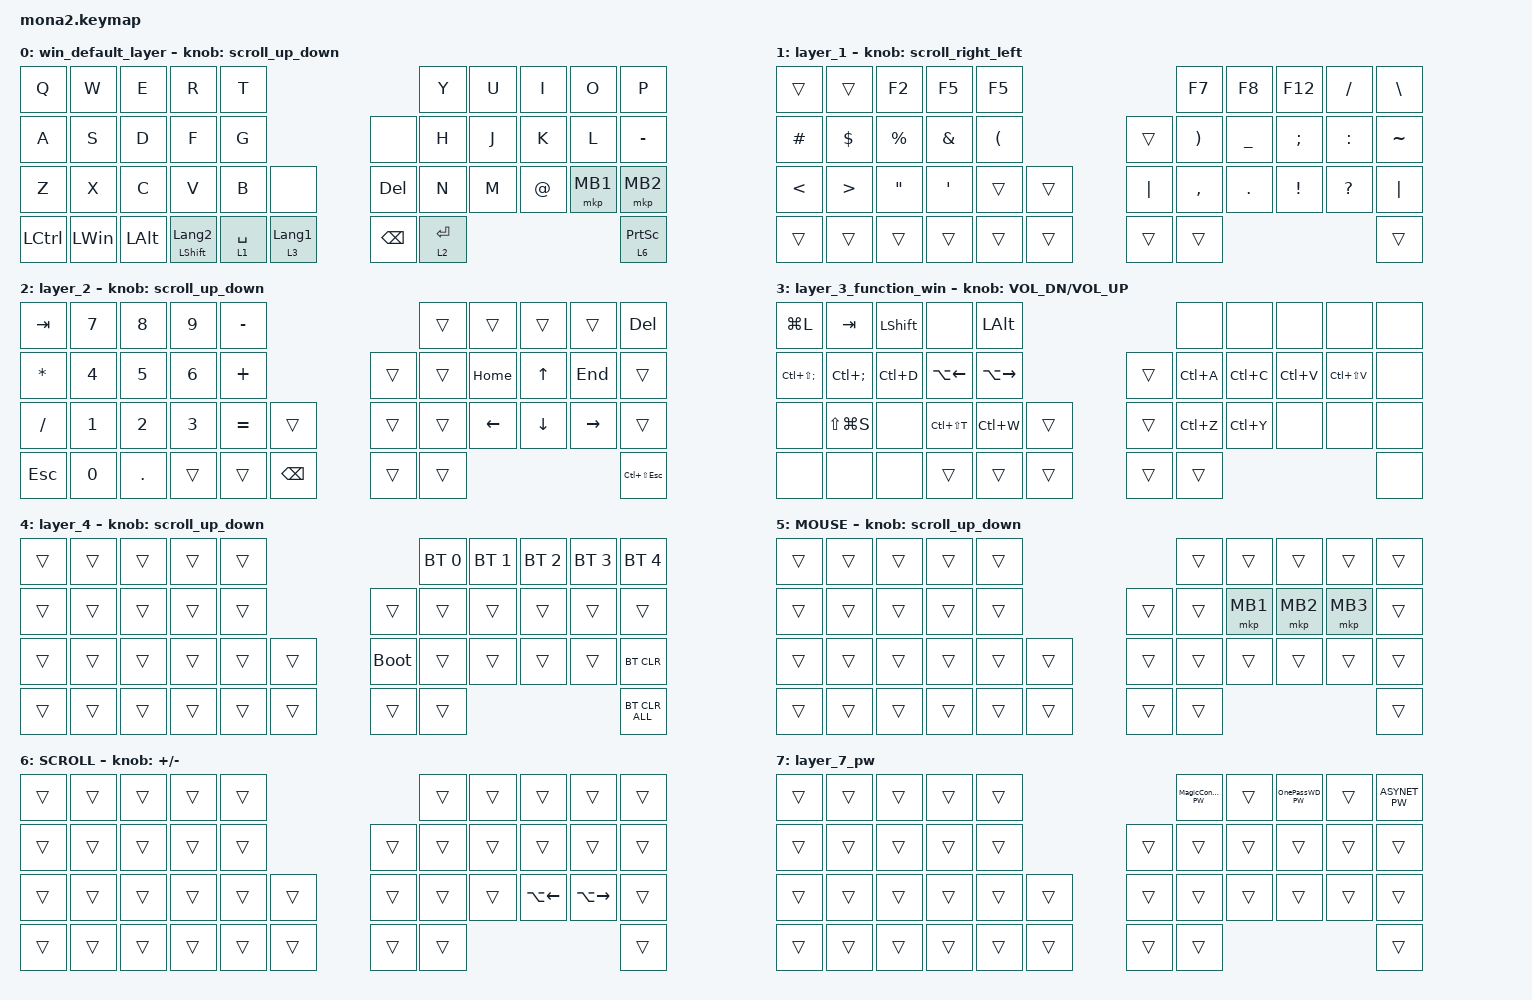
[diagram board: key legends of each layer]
#include <input/processors.dtsi>
#include <dt-bindings/zmk/input_transform.h>
#include <zephyr/dt-bindings/input/input-event-codes.h>
#include <behaviors.dtsi>
#include <dt-bindings/zmk/bt.h>
#include <dt-bindings/zmk/keys.h>
#include <dt-bindings/zmk/pointing.h>

#define ZMK_POINTING_DEFAULT_SCRL_VAL 100
#define MOUSE 5
#define SCROLL 6

&mt {
    flavor = "balanced";
    quick-tap-ms = <0>;
};

&lt {
    quick-tap-ms = <300>;
    flavor = "balanced";
};

/ {
    combos {
        compatible = "zmk,combos";

        layer4_ESC {
            bindings = <&lt 4 ESC>;
            key-positions = <39 38>;
        };

        tab {
            bindings = <&kp TAB>;
            key-positions = <11 12>;
        };

        layer7_ESC {
            bindings = <&lt 7 ESC>;
            key-positions = <36 40>;
        };
    };

    macros {
        to_layer_0: to_layer_0 {
            compatible = "zmk,behavior-macro-one-param";
            #binding-cells = <1>;
            bindings = <&to 0 &macro_param_1to1 &kp MACRO_PLACEHOLDER>;
            label = "TO_LAYER_0";
        };

        ASYNET_PW: ASYNET_PW {
            compatible = "zmk,behavior-macro";
            #binding-cells = <0>;
            bindings = <&none &kp N5 &kp R &kp Y &kp N6 &kp C &kp H &kp U &kp LS(U)>;
            label = "ASYNET_PW";
        };

        OnePassWD_PW: Mac_PW {
            compatible = "zmk,behavior-macro";
            #binding-cells = <0>;
            bindings = <&none &kp K &kp Y &kp O &kp N &kp K &kp N0 &kp N1 &kp O &kp LS(V) &kp E>;
            label = "MAC_PW";
        };

        MagicConnect_PW: MagicConnect_PW {
            compatible = "zmk,behavior-macro";
            #binding-cells = <0>;
            bindings = <&none &kp N8 &kp N3 &kp T &kp LS(T) &kp C &kp F &kp LS(Q) &kp LS(X) &kp LS(M) &kp LS(R)>;
            label = "MAGICCONNECT_PW";
        };
    };

    behaviors {
        lt_to_layer_0: lt_to_layer_0 {
            compatible = "zmk,behavior-hold-tap";
            label = "LAYER_TAP_TO_0";
            bindings = <&mo>, <&to_layer_0>;

            #binding-cells = <2>;
            tapping-term-ms = <200>;
        };

        scroll_up_down: mouse_wheel_up_down {
            compatible = "zmk,behavior-sensor-rotate";
            #sensor-binding-cells = <0>;
            bindings = <&msc SCRL_DOWN>, <&msc SCRL_UP>;

            tap-ms = <20>;
        };

        scroll_right_left: mouse_wheel_right_left {
            compatible = "zmk,behavior-sensor-rotate";
            #sensor-binding-cells = <0>;
            bindings = <&msc SCRL_LEFT>, <&msc SCRL_RIGHT>;

            tap-ms = <20>;
        };

        tog_on: toggle_layer_on_only {
            compatible = "zmk,behavior-toggle-layer";
            #binding-cells = <1>;
            display-name = "Toggle Layer On";
            toggle-mode = "on";
        };

        tog_off: toggle_layer_off_only {
            compatible = "zmk,behavior-toggle-layer";
            #binding-cells = <1>;
            display-name = "Toggle Layer Off";
            toggle-mode = "off";
        };
    };

    keymap {
        compatible = "zmk,keymap";

        win_default_layer {
            bindings = <
&kp Q      &kp W         &kp E         &kp R                      &kp T                                                      &kp Y        &kp U  &kp I        &kp O     &kp P
&kp A      &kp S         &kp D         &kp F                      &kp G                                       &none          &kp H        &kp J  &kp K        &kp L     &kp MINUS
&kp Z      &kp X         &kp C         &kp V                      &kp B        &none                          &kp DELETE     &kp N        &kp M  &kp AT_SIGN  &mkp MB1  &mkp MB2
&kp LCTRL  &kp LEFT_WIN  &kp LEFT_ALT  &mt LEFT_SHIFT LANGUAGE_2  &lt 1 SPACE  &lt_to_layer_0 3 LANGUAGE_1    &kp BACKSPACE  &lt 2 ENTER                                &lt 6 PRINTSCREEN
            >;

            sensor-bindings = <&scroll_up_down>;
        };

        layer_1 {
            bindings = <
&trans         &trans            &kp F2             &kp F5            &kp F5                                    &kp F7                 &kp F8          &kp F12          &kp FSLH      &kp BSLH
&kp POUND      &kp DOLLAR        &kp PERCENT        &kp AMPERSAND     &kp LEFT_PARENTHESIS            &trans    &kp RIGHT_PARENTHESIS  &kp UNDERSCORE  &kp SEMICOLON    &kp COLON     &kp TILDE
&kp LESS_THAN  &kp GREATER_THAN  &kp DOUBLE_QUOTES  &kp SINGLE_QUOTE  &trans                &trans    &kp PIPE  &kp COMMA              &kp DOT         &kp EXCLAMATION  &kp QUESTION  &kp PIPE
&trans         &trans            &trans             &trans            &trans                &trans    &trans    &trans                                                                &trans
            >;

            sensor-bindings = <&scroll_right_left>;
        };

        layer_2 {
            bindings = <
&kp TAB       &kp N7  &kp N8   &kp N9  &kp MINUS                      &trans  &trans    &trans    &trans     &kp DEL
&kp ASTERISK  &kp N4  &kp N5   &kp N6  &kp PLUS               &trans  &trans  &kp HOME  &kp UP    &kp END    &trans
&kp FSLH      &kp N1  &kp N2   &kp N3  &kp EQUAL  &trans      &trans  &trans  &kp LEFT  &kp DOWN  &kp RIGHT  &trans
&kp ESC       &kp N0  &kp DOT  &trans  &trans     &kp BSPC    &trans  &trans                                 &kp LC(LS(ESCAPE))
            >;

            sensor-bindings = <&scroll_up_down>;
        };

        layer_3_function_win {
            bindings = <
&kp LG(L)              &kp TAB            &kp LEFT_SHIFT  &none          &kp LEFT_ALT                     &none      &none      &none      &none          &none
&kp LC(LS(SEMICOLON))  &kp LC(SEMICOLON)  &kp LC(D)       &kp LA(LEFT)   &kp LA(RIGHT)            &trans  &kp LC(A)  &kp LC(C)  &kp LC(V)  &kp LC(LS(V))  &none
&none                  &kp LS(LG(S))      &none           &kp LC(LS(T))  &kp LC(W)      &trans    &trans  &kp LC(Z)  &kp LC(Y)  &none      &none          &none
&none                  &none              &none           &trans         &trans         &trans    &trans  &trans                                          &none
            >;

            sensor-bindings = <&inc_dec_kp C_VOL_DN C_VOL_UP>;
        };

        layer_4 {
            bindings = <
&trans  &trans  &trans  &trans  &trans                         &bt BT_SEL 0  &bt BT_SEL 1  &bt BT_SEL 2  &bt BT_SEL 3  &bt BT_SEL 4
&trans  &trans  &trans  &trans  &trans            &trans       &trans        &trans        &trans        &trans        &trans
&trans  &trans  &trans  &trans  &trans  &trans    &bootloader  &trans        &trans        &trans        &trans        &bt BT_CLR
&trans  &trans  &trans  &trans  &trans  &trans    &trans       &trans                                                  &bt BT_CLR_ALL
            >;

            sensor-bindings = <&scroll_up_down>;
        };

        MOUSE {
            bindings = <
&trans  &trans  &trans  &trans  &trans                    &trans  &trans    &trans    &trans    &trans
&trans  &trans  &trans  &trans  &trans            &trans  &trans  &mkp MB1  &mkp MB2  &mkp MB3  &trans
&trans  &trans  &trans  &trans  &trans  &trans    &trans  &trans  &trans    &trans    &trans    &trans
&trans  &trans  &trans  &trans  &trans  &trans    &trans  &trans                                &trans
            >;

            sensor-bindings = <&scroll_up_down>;
        };

        SCROLL {
            bindings = <
&trans  &trans  &trans  &trans  &trans                    &trans  &trans  &trans              &trans         &trans
&trans  &trans  &trans  &trans  &trans            &trans  &trans  &trans  &trans              &trans         &trans
&trans  &trans  &trans  &trans  &trans  &trans    &trans  &trans  &trans  &kp LA(LEFT_ARROW)  &kp LA(RIGHT)  &trans
&trans  &trans  &trans  &trans  &trans  &trans    &trans  &trans                                             &trans
            >;

            sensor-bindings = <&inc_dec_kp PLUS MINUS>;
        };

        layer_7_pw {
            bindings = <
&trans  &trans  &trans  &trans  &trans                    &MagicConnect_PW  &trans  &OnePassWD_PW  &trans  &ASYNET_PW
&trans  &trans  &trans  &trans  &trans            &trans  &trans            &trans  &trans         &trans  &trans
&trans  &trans  &trans  &trans  &trans  &trans    &trans  &trans            &trans  &trans         &trans  &trans
&trans  &trans  &trans  &trans  &trans  &trans    &trans  &trans                                           &trans
            >;
        };
    };
};
